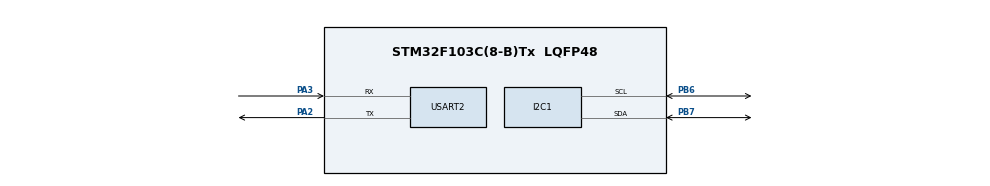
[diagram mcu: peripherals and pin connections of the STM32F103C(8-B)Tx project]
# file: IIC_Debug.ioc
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Dma.I2C1_RX.0.Direction=DMA_PERIPH_TO_MEMORY
Dma.I2C1_RX.0.Instance=DMA1_Channel7
Dma.I2C1_RX.0.MemDataAlignment=DMA_MDATAALIGN_BYTE
Dma.I2C1_RX.0.MemInc=DMA_MINC_ENABLE
Dma.I2C1_RX.0.Mode=DMA_NORMAL
Dma.I2C1_RX.0.PeriphDataAlignment=DMA_PDATAALIGN_BYTE
Dma.I2C1_RX.0.PeriphInc=DMA_PINC_DISABLE
Dma.I2C1_RX.0.Priority=DMA_PRIORITY_LOW
Dma.I2C1_TX.1.Direction=DMA_MEMORY_TO_PERIPH
Dma.I2C1_TX.1.Instance=DMA1_Channel6
Dma.I2C1_TX.1.MemDataAlignment=DMA_MDATAALIGN_BYTE
Dma.I2C1_TX.1.MemInc=DMA_MINC_ENABLE
Dma.I2C1_TX.1.Mode=DMA_NORMAL
Dma.I2C1_TX.1.PeriphDataAlignment=DMA_PDATAALIGN_BYTE
Dma.I2C1_TX.1.PeriphInc=DMA_PINC_DISABLE
Dma.I2C1_TX.1.Priority=DMA_PRIORITY_LOW
Dma.Request0=I2C1_RX
Dma.Request1=I2C1_TX
Mcu.Family=STM32F1
Mcu.Name=STM32F103C(8-B)Tx
Mcu.Package=LQFP48
NVIC.DMA1_Channel6_IRQn=true\:0\:0\:false\:false\:true\:false\:true\:true
NVIC.DMA1_Channel7_IRQn=true\:0\:0\:false\:false\:true\:false\:true\:true
NVIC.I2C1_ER_IRQn=true\:0\:0\:false\:false\:true\:true\:true\:true
NVIC.I2C1_EV_IRQn=true\:0\:0\:false\:false\:true\:true\:true\:true
NVIC.PriorityGroup=NVIC_PRIORITYGROUP_4
PA13.Mode=Serial_Wire
PA13.Signal=SYS_JTMS-SWDIO
PA14.Mode=Serial_Wire
PA14.Signal=SYS_JTCK-SWCLK
PA2.Mode=Asynchronous
PA2.Signal=USART2_TX
PA3.Mode=Asynchronous
PA3.Signal=USART2_RX
PB6.Mode=I2C
PB6.Signal=I2C1_SCL
PB7.Mode=I2C
PB7.Signal=I2C1_SDA
ProjectManager.HeapSize=0x200
ProjectManager.StackSize=0x400
ProjectManager.TargetToolchain=STM32CubeIDE
RCC.APB1Freq_Value=8000000
RCC.APB2Freq_Value=8000000
USART2.VirtualMode=VM_ASYNC
board=custom

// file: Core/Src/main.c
/* USER CODE BEGIN Header */
/**
  ******************************************************************************
  * @file           : main.c
  * @brief          : Main program body
  ******************************************************************************
  * @attention
  *
  * Copyright (c) 2025 STMicroelectronics.
  * All rights reserved.
  *
  * This software is licensed under terms that can be found in the LICENSE file
  * in the root directory of this software component.
  * If no LICENSE file comes with this software, it is provided AS-IS.
  *
  ******************************************************************************
  */
/* USER CODE END Header */
#include "main.h"
#include "dma.h"
#include "i2c.h"
#include "usart.h"
#include "gpio.h"

/* USER CODE BEGIN Includes */
#include "AHT20.h"
#include "stdio.h"
#include "string.h"
/* USER CODE END Includes */

/* USER CODE BEGIN PV */
AHT20State CurrAHT20State = INIT;
/* USER CODE END PV */

void SystemClock_Config(void);

int main(void)
{

  /* MCU Configuration--------------------------------------------------------*/

  /* Reset of all peripherals, Initializes the Flash interface and the Systick. */
  HAL_Init();

  /* Configure the system clock */
  SystemClock_Config();

  /* Initialize all configured peripherals */
  MX_GPIO_Init();
  MX_DMA_Init();
  MX_I2C1_Init();
  MX_USART2_UART_Init();
  /* USER CODE BEGIN 2 */
  AHT20_Init();
  float temperature, humidity;
  char message[50];
  /* USER CODE END 2 */

  /* Infinite loop */
  /* USER CODE BEGIN WHILE */
  while (1)
  {
	  // Read the state of AHT20 and send it through serial port
	  if (CurrAHT20State == INIT)
	  {
		  AHT20_CMD_Meas(); // send the command to start measurement
	  }
	  else if (CurrAHT20State == SENDFINISHED)
	  {
		  HAL_Delay(75);
		  AHT20_GetHT_VAL(); // read the measurement into data buffer
	  }
	  else if (CurrAHT20State == READFINISHED)
	  {
		  AHT20_PARSE_VAL(&temperature, &humidity);
		  sprintf(message, "Temperature: %.1f C, Humidity: %.1f %%\r\n", temperature, humidity);
		  HAL_UART_Transmit(&huart2, (uint8_t *)message, strlen(message), HAL_MAX_DELAY);
		  HAL_Delay(1000);
		  CurrAHT20State = INIT;
	  }
	  //AHT20_Read(&temperature, &humidity);

    /* USER CODE END WHILE */

  }
}

void SystemClock_Config(void)
{
  RCC_OscInitTypeDef RCC_OscInitStruct = {0};
  RCC_ClkInitTypeDef RCC_ClkInitStruct = {0};

  /** Initializes the RCC Oscillators according to the specified parameters
  * in the RCC_OscInitTypeDef structure.
  */
  RCC_OscInitStruct.OscillatorType = RCC_OSCILLATORTYPE_HSI;
  RCC_OscInitStruct.HSIState = RCC_HSI_ON;
  RCC_OscInitStruct.HSICalibrationValue = RCC_HSICALIBRATION_DEFAULT;
  RCC_OscInitStruct.PLL.PLLState = RCC_PLL_NONE;
  if (HAL_RCC_OscConfig(&RCC_OscInitStruct) != HAL_OK)
  {
    Error_Handler();
  }

  /** Initializes the CPU, AHB and APB buses clocks
  */
  RCC_ClkInitStruct.ClockType = RCC_CLOCKTYPE_HCLK|RCC_CLOCKTYPE_SYSCLK
                              |RCC_CLOCKTYPE_PCLK1|RCC_CLOCKTYPE_PCLK2;
  RCC_ClkInitStruct.SYSCLKSource = RCC_SYSCLKSOURCE_HSI;
  RCC_ClkInitStruct.AHBCLKDivider = RCC_SYSCLK_DIV1;
  RCC_ClkInitStruct.APB1CLKDivider = RCC_HCLK_DIV1;
  RCC_ClkInitStruct.APB2CLKDivider = RCC_HCLK_DIV1;

  if (HAL_RCC_ClockConfig(&RCC_ClkInitStruct, FLASH_LATENCY_0) != HAL_OK)
  {
    Error_Handler();
  }
}

void Error_Handler(void)
{
  __disable_irq();
  while (1)
  {
  }
}
